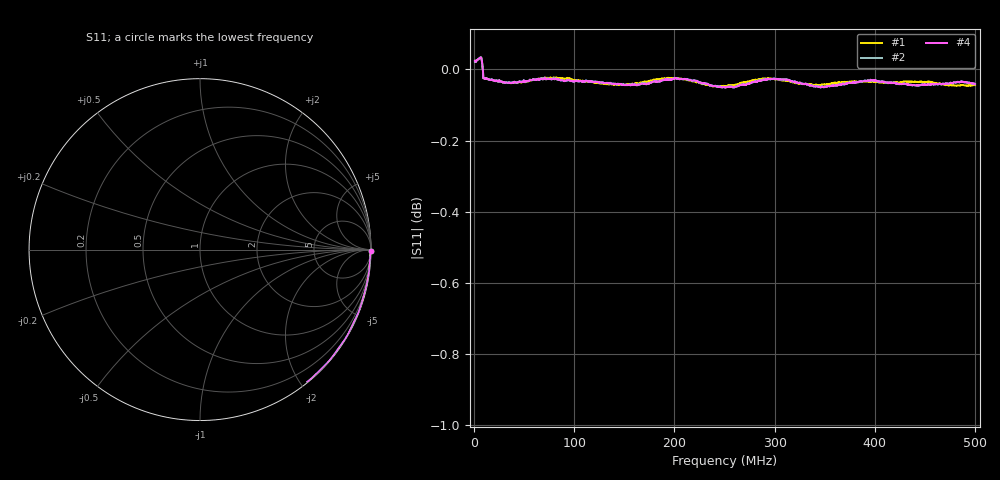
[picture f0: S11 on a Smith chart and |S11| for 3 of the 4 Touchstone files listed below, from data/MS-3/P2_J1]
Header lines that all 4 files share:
! MS46122B
! 1746301/73750021
! CHANNEL.1
! TR.MEASUREMENT
! CORRECTED.DATA
# GHZ S RI R 50.0
! FREQ.GHZ  S11RE  S11IM  S21RE  S21IM  S12RE  S12IM  S22RE  S22IM
!; PortSelection: Port_12
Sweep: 1 MHz to 500 MHz
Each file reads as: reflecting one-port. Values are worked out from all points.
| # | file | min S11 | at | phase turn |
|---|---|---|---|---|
| 1 | J1_OFF.s2p | 0.0 dB | 243.5 MHz | -19 deg |
| 2 | J2_ON.s2p | -0.1 dB | 250.5 MHz | -50 deg |
| 3 | J3_ON.s2p | -0.1 dB | 250.5 MHz | -50 deg |
| 4 | J4_ON.s2p | -0.1 dB | 250.5 MHz | -51 deg |
